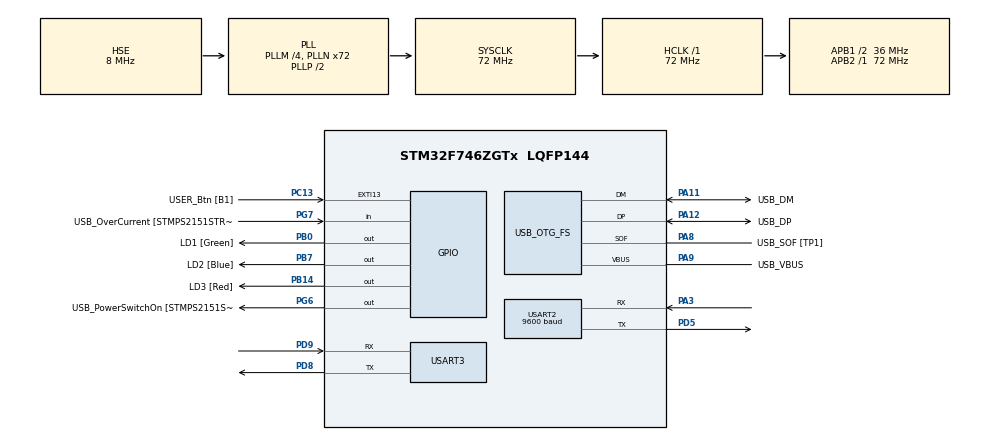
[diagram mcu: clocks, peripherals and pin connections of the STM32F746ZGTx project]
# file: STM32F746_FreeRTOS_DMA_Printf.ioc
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Dma.Request0=USART2_RX
Dma.Request1=USART2_TX
Dma.USART2_RX.0.Direction=DMA_PERIPH_TO_MEMORY
Dma.USART2_RX.0.FIFOMode=DMA_FIFOMODE_DISABLE
Dma.USART2_RX.0.Instance=DMA1_Stream5
Dma.USART2_RX.0.MemDataAlignment=DMA_MDATAALIGN_BYTE
Dma.USART2_RX.0.MemInc=DMA_MINC_ENABLE
Dma.USART2_RX.0.Mode=DMA_NORMAL
Dma.USART2_RX.0.PeriphDataAlignment=DMA_PDATAALIGN_BYTE
Dma.USART2_RX.0.PeriphInc=DMA_PINC_DISABLE
Dma.USART2_RX.0.Priority=DMA_PRIORITY_HIGH
Dma.USART2_TX.1.Direction=DMA_MEMORY_TO_PERIPH
Dma.USART2_TX.1.FIFOMode=DMA_FIFOMODE_DISABLE
Dma.USART2_TX.1.Instance=DMA1_Stream6
Dma.USART2_TX.1.MemDataAlignment=DMA_MDATAALIGN_BYTE
Dma.USART2_TX.1.MemInc=DMA_MINC_ENABLE
Dma.USART2_TX.1.Mode=DMA_NORMAL
Dma.USART2_TX.1.PeriphDataAlignment=DMA_PDATAALIGN_BYTE
Dma.USART2_TX.1.PeriphInc=DMA_PINC_DISABLE
Dma.USART2_TX.1.Priority=DMA_PRIORITY_LOW
FREERTOS.BinarySemaphores01=consoleSema,Dynamic,NULL
FREERTOS.Queues01=smsRxQueue,16,uint8_t,0,Dynamic,NULL,NULL;ConsoleTxQueue,16,uint8_t,0,Dynamic,NULL,NULL
FREERTOS.Tasks01=defaultTask,24,128,StartDefaultTask,Default,NULL,Dynamic,NULL,NULL;ProcessSmsTask,32,256,StartProcessSmsTask,Default,NULL,Dynamic,NULL,NULL;ConsoleTxTask,33,256,StartConsoleTxTask,Default,NULL,Dynamic,NULL,NULL;DebugTask,24,128,StartDebugTask,Default,NULL,Dynamic,NULL,NULL;GsmTxTask,24,128,StartGsmTxTask,Default,NULL,Dynamic,NULL,NULL;GsmRxTask,32,128,StartGsmRxTask,Default,NULL,Dynamic,NULL,NULL
FREERTOS.Timers01=SmsRxTimeout,SmsRxTimeout_Callback,osTimerOnce,Default,NULL,Dynamic,NULL
FREERTOS.configCHECK_FOR_STACK_OVERFLOW=2
FREERTOS.configGENERATE_RUN_TIME_STATS=1
FREERTOS.configRECORD_STACK_HIGH_ADDRESS=1
FREERTOS.configUSE_IDLE_HOOK=1
FREERTOS.configUSE_PREEMPTION=0
FREERTOS.configUSE_STATS_FORMATTING_FUNCTIONS=1
Mcu.Family=STM32F7
Mcu.Name=STM32F746ZGTx
Mcu.Package=LQFP144
NVIC.DMA1_Stream5_IRQn=true\:5\:0\:false\:false\:true\:true\:false\:true
NVIC.DMA1_Stream6_IRQn=true\:5\:0\:false\:false\:true\:true\:false\:true
NVIC.PriorityGroup=NVIC_PRIORITYGROUP_4
NVIC.TIM7_IRQn=true\:0\:0\:false\:false\:true\:false\:false\:true
NVIC.TimeBase=TIM7_IRQn
NVIC.TimeBaseIP=TIM7
NVIC.USART2_IRQn=true\:5\:0\:false\:false\:true\:true\:true\:true
NVIC.USART3_IRQn=true\:5\:0\:false\:false\:true\:true\:true\:true
PA1.GPIO_Label=RMII_REF_CLK [LAN8742A-CZ-TR_REFCLK0]
PA1.Signal=ETH_REF_CLK
PA10.GPIO_Label=USB_ID
PA10.Signal=USB_OTG_FS_ID
PA11.GPIO_Label=USB_DM
PA11.Mode=Device_Only
PA11.Signal=USB_OTG_FS_DM
PA12.GPIO_Label=USB_DP
PA12.Mode=Device_Only
PA12.Signal=USB_OTG_FS_DP
PA13.GPIO_Label=TMS
PA13.Mode=Serial_Wire
PA13.Signal=SYS_JTMS-SWDIO
PA14.GPIO_Label=TCK
PA14.Mode=Serial_Wire
PA14.Signal=SYS_JTCK-SWCLK
PA2.GPIO_Label=RMII_MDIO [LAN8742A-CZ-TR_MDIO]
PA2.Signal=ETH_MDIO
PA3.Mode=Asynchronous
PA3.Signal=USART2_RX
PA7.GPIO_Label=RMII_CRS_DV [LAN8742A-CZ-TR_CRS_DV]
PA7.Signal=ETH_CRS_DV
PA8.GPIO_Label=USB_SOF [TP1]
PA8.Mode=Activate_SOF_FS
PA8.Signal=USB_OTG_FS_SOF
PA9.GPIO_Label=USB_VBUS
PA9.Mode=Activate_VBUS
PA9.Signal=USB_OTG_FS_VBUS
PB0.GPIO_Label=LD1 [Green]
PB0.Signal=GPIO_Output
PB13.GPIO_Label=RMII_TXD1 [LAN8742A-CZ-TR_TXD1]
PB13.Signal=ETH_TXD1
PB14.GPIO_Label=LD3 [Red]
PB14.Signal=GPIO_Output
PB3.GPIO_Label=SW0
PB3.Signal=SYS_JTDO-SWO
PB7.GPIO_Label=LD2 [Blue]
PB7.Signal=GPIO_Output
PC1.GPIO_Label=RMII_MDC [LAN8742A-CZ-TR_MDC]
PC1.Signal=ETH_MDC
PC13.GPIO_Label=USER_Btn [B1]
PC13.Signal=GPXTI13
PC14/OSC32_IN.Mode=LSE-External-Oscillator
PC14/OSC32_IN.Signal=RCC_OSC32_IN
PC15/OSC32_OUT.Mode=LSE-External-Oscillator
PC15/OSC32_OUT.Signal=RCC_OSC32_OUT
PC4.GPIO_Label=RMII_RXD0 [LAN8742A-CZ-TR_RXD0]
PC4.Signal=ETH_RXD0
PC5.GPIO_Label=RMII_RXD1 [LAN8742A-CZ-TR_RXD1]
PC5.Signal=ETH_RXD1
PD5.Mode=Asynchronous
PD5.Signal=USART2_TX
PD8.GPIO_ModeDefaultPP=GPIO_MODE_AF_PP
PD8.GPIO_PuPd=GPIO_NOPULL
PD8.GPIO_Speed=GPIO_SPEED_FREQ_VERY_HIGH
PD8.Mode=Asynchronous
PD8.Signal=USART3_TX
PD9.GPIO_ModeDefaultPP=GPIO_MODE_AF_PP
PD9.GPIO_PuPd=GPIO_NOPULL
PD9.GPIO_Speed=GPIO_SPEED_FREQ_VERY_HIGH
PD9.Mode=Asynchronous
PD9.Signal=USART3_RX
PG11.GPIO_Label=RMII_TX_EN [LAN8742A-CZ-TR_TXEN]
PG11.Signal=ETH_TX_EN
PG13.GPIO_Label=RMII_TXD0 [LAN8742A-CZ-TR_TXD0]
PG13.Signal=ETH_TXD0
PG6.GPIO_Label=USB_PowerSwitchOn [STMPS2151STR_EN]
PG6.Signal=GPIO_Output
PG7.GPIO_Label=USB_OverCurrent [STMPS2151STR_FAULT]
PG7.Signal=GPIO_Input
PH0/OSC_IN.GPIO_Label=MCO [STM32F103CBT6_PA8]
PH0/OSC_IN.Mode=HSE-External-Clock-Source
PH0/OSC_IN.Signal=RCC_OSC_IN
PH1/OSC_OUT.Mode=HSE-External-Clock-Source
PH1/OSC_OUT.Signal=RCC_OSC_OUT
ProjectManager.HeapSize=0x200
ProjectManager.StackSize=0x400
ProjectManager.TargetToolchain=STM32CubeIDE
RCC.48MHZClocksFreq_Value=24000000
RCC.AHBFreq_Value=72000000
RCC.APB1CLKDivider=RCC_HCLK_DIV2
RCC.APB1Freq_Value=36000000
RCC.APB1TimFreq_Value=72000000
RCC.APB2Freq_Value=72000000
RCC.APB2TimFreq_Value=72000000
RCC.CortexFreq_Value=72000000
RCC.HCLKFreq_Value=72000000
RCC.HSE_VALUE=8000000
RCC.HSI_VALUE=16000000
RCC.PLLM=4
RCC.PLLMUL=RCC_PLL_MUL9
RCC.PLLN=72
RCC.PLLQ=3
RCC.PRESCALERUSB=RCC_USBCLKSOURCE_PLL_DIV1_5
RCC.SYSCLKFreq_VALUE=72000000
RCC.SYSCLKSource=RCC_SYSCLKSOURCE_PLLCLK
RCC.SYSCLKSourceVirtual=RCC_SYSCLKSOURCE_PLLCLK
RCC.USBFreq_Value=48000000
RCC.VCOOutputFreq_Value=144000000
USART2.BaudRate=9600
USART2.VirtualMode-Asynchronous=VM_ASYNC
USART3.VirtualMode-Asynchronous=VM_ASYNC
USB_OTG_FS.VirtualMode=Device_Only
VP_FREERTOS_VS_CMSIS_V2.Mode=CMSIS_V2
VP_SYS_VS_tim7.Mode=TIM7
board=NUCLEO-F746ZG

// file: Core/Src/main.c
/* USER CODE BEGIN Header */
/**
  ******************************************************************************
  * @file           : main.c
  * @brief          : Main program body
  ******************************************************************************
  * @attention
  *
  * <h2><center>&copy; Copyright (c) 2021 STMicroelectronics.
  * All rights reserved.</center></h2>
  *
  * This software component is licensed by ST under BSD 3-Clause license,
  * the "License"; You may not use this file except in compliance with the
  * License. You may obtain a copy of the License at:
  *                        opensource.org/licenses/BSD-3-Clause
  *
  ******************************************************************************
  */
/* USER CODE END Header */
#include "main.h"
#include "cmsis_os.h"

/* USER CODE BEGIN Includes */
#include "task.h"
#include "sms.h"
#include "msg.h"
#include "retarget.h"
#include "stdio.h"
#include "string.h"
#include "globals.h"

/* USER CODE END Includes */

/* USER CODE BEGIN PM */

#define CONSOLE_UART huart3
#define SMS_UART     huart2

#define WAIT_UART_READY(__UART__) while(HAL_UART_GetState(&__UART__) != HAL_UART_STATE_READY) osThreadYield();

#define UART_DMA_TRANSMIT(__UART__, __BPTR__)  	if(HAL_UART_Transmit_DMA(&(__UART__), (uint8_t*)(__BPTR__), strlen((char *)(__BPTR__))) != HAL_OK) \
		{\
		}

#define SMS_DMA_TRANSMIT(__BPTR__)  \
		WAIT_UART_READY(SMS_UART); \
		if(HAL_UART_Transmit_DMA(&(SMS_UART), (uint8_t*)(__BPTR__), strlen((char *)(__BPTR__))) != HAL_OK) \
		{\
		}\
		WAIT_UART_READY(SMS_UART);

#define SET_TICK_LIMIT(__CNTR__, __TICKS__) (__CNTR__) = HAL_GetTick() + (__TICKS__)

/* USER CODE END PM */

UART_HandleTypeDef huart2;
UART_HandleTypeDef huart3;
DMA_HandleTypeDef hdma_usart2_rx;
DMA_HandleTypeDef hdma_usart2_tx;

PCD_HandleTypeDef hpcd_USB_OTG_FS;

/* Definitions for defaultTask */
osThreadId_t defaultTaskHandle;
const osThreadAttr_t defaultTask_attributes = {
  .name = "defaultTask",
  .priority = (osPriority_t) osPriorityNormal,
  .stack_size = 128 * 4
};
/* Definitions for ProcessSmsTask */
osThreadId_t ProcessSmsTaskHandle;
const osThreadAttr_t ProcessSmsTask_attributes = {
  .name = "ProcessSmsTask",
  .priority = (osPriority_t) osPriorityAboveNormal,
  .stack_size = 256 * 4
};
/* Definitions for ConsoleTxTask */
osThreadId_t ConsoleTxTaskHandle;
const osThreadAttr_t ConsoleTxTask_attributes = {
  .name = "ConsoleTxTask",
  .priority = (osPriority_t) osPriorityAboveNormal1,
  .stack_size = 256 * 4
};
/* Definitions for DebugTask */
osThreadId_t DebugTaskHandle;
const osThreadAttr_t DebugTask_attributes = {
  .name = "DebugTask",
  .priority = (osPriority_t) osPriorityNormal,
  .stack_size = 128 * 4
};
/* Definitions for GsmTxTask */
osThreadId_t GsmTxTaskHandle;
const osThreadAttr_t GsmTxTask_attributes = {
  .name = "GsmTxTask",
  .priority = (osPriority_t) osPriorityNormal,
  .stack_size = 128 * 4
};
/* Definitions for GsmRxTask */
osThreadId_t GsmRxTaskHandle;
const osThreadAttr_t GsmRxTask_attributes = {
  .name = "GsmRxTask",
  .priority = (osPriority_t) osPriorityAboveNormal,
  .stack_size = 128 * 4
};
/* Definitions for smsRxQueue */
osMessageQueueId_t smsRxQueueHandle;
const osMessageQueueAttr_t smsRxQueue_attributes = {
  .name = "smsRxQueue"
};
/* Definitions for ConsoleTxQueue */
osMessageQueueId_t ConsoleTxQueueHandle;
const osMessageQueueAttr_t ConsoleTxQueue_attributes = {
  .name = "ConsoleTxQueue"
};
/* Definitions for SmsRxTimeout */
osTimerId_t SmsRxTimeoutHandle;
const osTimerAttr_t SmsRxTimeout_attributes = {
  .name = "SmsRxTimeout"
};
/* Definitions for consoleSema */
osSemaphoreId_t consoleSemaHandle;
const osSemaphoreAttr_t consoleSema_attributes = {
  .name = "consoleSema"
};
/* USER CODE BEGIN PV */

/* Buffer used for reception */
uint8_t aRxBuffer[RXBUFFERSIZE];
struct msg_handle_struct *msg_handle_ptr;
char debug_str[1000];

/* USER CODE END PV */

void SystemClock_Config(void);
static void MX_GPIO_Init(void);
static void MX_DMA_Init(void);
static void MX_USART3_UART_Init(void);
static void MX_USB_OTG_FS_PCD_Init(void);
static void MX_USART2_UART_Init(void);
void StartDefaultTask(void *argument);
void StartProcessSmsTask(void *argument);
void StartConsoleTxTask(void *argument);
void StartDebugTask(void *argument);
void StartGsmTxTask(void *argument);
void StartGsmRxTask(void *argument);
void SmsRxTimeout_Callback(void *argument);

int main(void)
{

  /* MCU Configuration--------------------------------------------------------*/

  /* Reset of all peripherals, Initializes the Flash interface and the Systick. */
  HAL_Init();

  /* Configure the system clock */
  SystemClock_Config();

  /* Initialize all configured peripherals */
  MX_GPIO_Init();
  MX_DMA_Init();
  MX_USART3_UART_Init();
  MX_USB_OTG_FS_PCD_Init();
  MX_USART2_UART_Init();
  /* USER CODE BEGIN 2 */

    // Initilaize message repository
    msg_initialize();
    RetargetInit(&huart3);
    //------------------------------------------------------------------------------------------------
    HAL_Delay(2000);
    printf("%s %s","STM32F746_FreeRTOS_DMA_Printf", &newline_str);

    HAL_Delay(100);
    //------------------------------------------------------------------------------------------------

  /* USER CODE END 2 */

  /* Init scheduler */
  osKernelInitialize();

  /* Create the semaphores(s) */
  /* creation of consoleSema */
  consoleSemaHandle = osSemaphoreNew(1, 1, &consoleSema_attributes);

  /* Create the timer(s) */
  /* creation of SmsRxTimeout */
  SmsRxTimeoutHandle = osTimerNew(SmsRxTimeout_Callback, osTimerOnce, NULL, &SmsRxTimeout_attributes);

  /* Create the queue(s) */
  /* creation of smsRxQueue */
  smsRxQueueHandle = osMessageQueueNew (16, sizeof(uint8_t), &smsRxQueue_attributes);

  /* creation of ConsoleTxQueue */
  ConsoleTxQueueHandle = osMessageQueueNew (16, sizeof(uint8_t), &ConsoleTxQueue_attributes);

  /* Create the thread(s) */
  /* creation of defaultTask */
  defaultTaskHandle = osThreadNew(StartDefaultTask, NULL, &defaultTask_attributes);

  /* creation of ProcessSmsTask */
  ProcessSmsTaskHandle = osThreadNew(StartProcessSmsTask, NULL, &ProcessSmsTask_attributes);

  /* creation of ConsoleTxTask */
  ConsoleTxTaskHandle = osThreadNew(StartConsoleTxTask, NULL, &ConsoleTxTask_attributes);

  /* creation of DebugTask */
  DebugTaskHandle = osThreadNew(StartDebugTask, NULL, &DebugTask_attributes);

  /* creation of GsmTxTask */
  GsmTxTaskHandle = osThreadNew(StartGsmTxTask, NULL, &GsmTxTask_attributes);

  /* creation of GsmRxTask */
  GsmRxTaskHandle = osThreadNew(StartGsmRxTask, NULL, &GsmRxTask_attributes);

  /* Start scheduler */
  osKernelStart();

  /* We should never get here as control is now taken by the scheduler */
  /* Infinite loop */
  while (1)
  {

  }
}

void SystemClock_Config(void)
{
  RCC_OscInitTypeDef RCC_OscInitStruct = {0};
  RCC_ClkInitTypeDef RCC_ClkInitStruct = {0};
  RCC_PeriphCLKInitTypeDef PeriphClkInitStruct = {0};

  /** Configure LSE Drive Capability
  */
  HAL_PWR_EnableBkUpAccess();
  /** Configure the main internal regulator output voltage
  */
  __HAL_RCC_PWR_CLK_ENABLE();
  __HAL_PWR_VOLTAGESCALING_CONFIG(PWR_REGULATOR_VOLTAGE_SCALE3);
  /** Initializes the RCC Oscillators according to the specified parameters
  * in the RCC_OscInitTypeDef structure.
  */
  RCC_OscInitStruct.OscillatorType = RCC_OSCILLATORTYPE_HSE;
  RCC_OscInitStruct.HSEState = RCC_HSE_BYPASS;
  RCC_OscInitStruct.PLL.PLLState = RCC_PLL_ON;
  RCC_OscInitStruct.PLL.PLLSource = RCC_PLLSOURCE_HSE;
  RCC_OscInitStruct.PLL.PLLM = 4;
  RCC_OscInitStruct.PLL.PLLN = 72;
  RCC_OscInitStruct.PLL.PLLP = RCC_PLLP_DIV2;
  RCC_OscInitStruct.PLL.PLLQ = 3;
  if (HAL_RCC_OscConfig(&RCC_OscInitStruct) != HAL_OK)
  {
    Error_Handler();
  }
  /** Initializes the CPU, AHB and APB buses clocks
  */
  RCC_ClkInitStruct.ClockType = RCC_CLOCKTYPE_HCLK|RCC_CLOCKTYPE_SYSCLK
                              |RCC_CLOCKTYPE_PCLK1|RCC_CLOCKTYPE_PCLK2;
  RCC_ClkInitStruct.SYSCLKSource = RCC_SYSCLKSOURCE_PLLCLK;
  RCC_ClkInitStruct.AHBCLKDivider = RCC_SYSCLK_DIV1;
  RCC_ClkInitStruct.APB1CLKDivider = RCC_HCLK_DIV2;
  RCC_ClkInitStruct.APB2CLKDivider = RCC_HCLK_DIV1;

  if (HAL_RCC_ClockConfig(&RCC_ClkInitStruct, FLASH_LATENCY_2) != HAL_OK)
  {
    Error_Handler();
  }
  PeriphClkInitStruct.PeriphClockSelection = RCC_PERIPHCLK_USART2|RCC_PERIPHCLK_USART3
                              |RCC_PERIPHCLK_CLK48;
  PeriphClkInitStruct.Usart2ClockSelection = RCC_USART2CLKSOURCE_PCLK1;
  PeriphClkInitStruct.Usart3ClockSelection = RCC_USART3CLKSOURCE_PCLK1;
  PeriphClkInitStruct.Clk48ClockSelection = RCC_CLK48SOURCE_PLL;
  if (HAL_RCCEx_PeriphCLKConfig(&PeriphClkInitStruct) != HAL_OK)
  {
    Error_Handler();
  }
}

static void MX_USART2_UART_Init(void)
{

  huart2.Instance = USART2;
  huart2.Init.BaudRate = 9600;
  huart2.Init.WordLength = UART_WORDLENGTH_8B;
  huart2.Init.StopBits = UART_STOPBITS_1;
  huart2.Init.Parity = UART_PARITY_NONE;
  huart2.Init.Mode = UART_MODE_TX_RX;
  huart2.Init.HwFlowCtl = UART_HWCONTROL_NONE;
  huart2.Init.OverSampling = UART_OVERSAMPLING_16;
  huart2.Init.OneBitSampling = UART_ONE_BIT_SAMPLE_DISABLE;
  huart2.AdvancedInit.AdvFeatureInit = UART_ADVFEATURE_NO_INIT;
  if (HAL_UART_Init(&huart2) != HAL_OK)
  {
    Error_Handler();
  }

}

static void MX_USART3_UART_Init(void)
{

  huart3.Instance = USART3;
  huart3.Init.BaudRate = 115200;
  huart3.Init.WordLength = UART_WORDLENGTH_8B;
  huart3.Init.StopBits = UART_STOPBITS_1;
  huart3.Init.Parity = UART_PARITY_NONE;
  huart3.Init.Mode = UART_MODE_TX_RX;
  huart3.Init.HwFlowCtl = UART_HWCONTROL_NONE;
  huart3.Init.OverSampling = UART_OVERSAMPLING_16;
  huart3.Init.OneBitSampling = UART_ONE_BIT_SAMPLE_DISABLE;
  huart3.AdvancedInit.AdvFeatureInit = UART_ADVFEATURE_NO_INIT;
  if (HAL_UART_Init(&huart3) != HAL_OK)
  {
    Error_Handler();
  }

}

static void MX_USB_OTG_FS_PCD_Init(void)
{

  hpcd_USB_OTG_FS.Instance = USB_OTG_FS;
  hpcd_USB_OTG_FS.Init.dev_endpoints = 6;
  hpcd_USB_OTG_FS.Init.speed = PCD_SPEED_FULL;
  hpcd_USB_OTG_FS.Init.dma_enable = DISABLE;
  hpcd_USB_OTG_FS.Init.phy_itface = PCD_PHY_EMBEDDED;
  hpcd_USB_OTG_FS.Init.Sof_enable = ENABLE;
  hpcd_USB_OTG_FS.Init.low_power_enable = DISABLE;
  hpcd_USB_OTG_FS.Init.lpm_enable = DISABLE;
  hpcd_USB_OTG_FS.Init.vbus_sensing_enable = ENABLE;
  hpcd_USB_OTG_FS.Init.use_dedicated_ep1 = DISABLE;
  if (HAL_PCD_Init(&hpcd_USB_OTG_FS) != HAL_OK)
  {
    Error_Handler();
  }

}

static void MX_DMA_Init(void)
{

  /* DMA controller clock enable */
  __HAL_RCC_DMA1_CLK_ENABLE();

  /* DMA interrupt init */
  /* DMA1_Stream5_IRQn interrupt configuration */
  HAL_NVIC_SetPriority(DMA1_Stream5_IRQn, 5, 0);
  HAL_NVIC_EnableIRQ(DMA1_Stream5_IRQn);
  /* DMA1_Stream6_IRQn interrupt configuration */
  HAL_NVIC_SetPriority(DMA1_Stream6_IRQn, 5, 0);
  HAL_NVIC_EnableIRQ(DMA1_Stream6_IRQn);

}

static void MX_GPIO_Init(void)
{
  GPIO_InitTypeDef GPIO_InitStruct = {0};

  /* GPIO Ports Clock Enable */
  __HAL_RCC_GPIOC_CLK_ENABLE();
  __HAL_RCC_GPIOH_CLK_ENABLE();
  __HAL_RCC_GPIOA_CLK_ENABLE();
  __HAL_RCC_GPIOB_CLK_ENABLE();
  __HAL_RCC_GPIOD_CLK_ENABLE();
  __HAL_RCC_GPIOG_CLK_ENABLE();

  /*Configure GPIO pin Output Level */
  HAL_GPIO_WritePin(GPIOB, LD1_Pin|LD3_Pin|LD2_Pin, GPIO_PIN_RESET);

  /*Configure GPIO pin Output Level */
  HAL_GPIO_WritePin(USB_PowerSwitchOn_GPIO_Port, USB_PowerSwitchOn_Pin, GPIO_PIN_RESET);

  /*Configure GPIO pin : USER_Btn_Pin */
  GPIO_InitStruct.Pin = USER_Btn_Pin;
  GPIO_InitStruct.Mode = GPIO_MODE_IT_RISING;
  GPIO_InitStruct.Pull = GPIO_NOPULL;
  HAL_GPIO_Init(USER_Btn_GPIO_Port, &GPIO_InitStruct);

  /*Configure GPIO pins : RMII_MDC_Pin RMII_RXD0_Pin RMII_RXD1_Pin */
  GPIO_InitStruct.Pin = RMII_MDC_Pin|RMII_RXD0_Pin|RMII_RXD1_Pin;
  GPIO_InitStruct.Mode = GPIO_MODE_AF_PP;
  GPIO_InitStruct.Pull = GPIO_NOPULL;
  GPIO_InitStruct.Speed = GPIO_SPEED_FREQ_VERY_HIGH;
  GPIO_InitStruct.Alternate = GPIO_AF11_ETH;
  HAL_GPIO_Init(GPIOC, &GPIO_InitStruct);

  /*Configure GPIO pins : RMII_REF_CLK_Pin RMII_MDIO_Pin RMII_CRS_DV_Pin */
  GPIO_InitStruct.Pin = RMII_REF_CLK_Pin|RMII_MDIO_Pin|RMII_CRS_DV_Pin;
  GPIO_InitStruct.Mode = GPIO_MODE_AF_PP;
  GPIO_InitStruct.Pull = GPIO_NOPULL;
  GPIO_InitStruct.Speed = GPIO_SPEED_FREQ_VERY_HIGH;
  GPIO_InitStruct.Alternate = GPIO_AF11_ETH;
  HAL_GPIO_Init(GPIOA, &GPIO_InitStruct);

  /*Configure GPIO pins : LD1_Pin LD3_Pin LD2_Pin */
  GPIO_InitStruct.Pin = LD1_Pin|LD3_Pin|LD2_Pin;
  GPIO_InitStruct.Mode = GPIO_MODE_OUTPUT_PP;
  GPIO_InitStruct.Pull = GPIO_NOPULL;
  GPIO_InitStruct.Speed = GPIO_SPEED_FREQ_LOW;
  HAL_GPIO_Init(GPIOB, &GPIO_InitStruct);

  /*Configure GPIO pin : RMII_TXD1_Pin */
  GPIO_InitStruct.Pin = RMII_TXD1_Pin;
  GPIO_InitStruct.Mode = GPIO_MODE_AF_PP;
  GPIO_InitStruct.Pull = GPIO_NOPULL;
  GPIO_InitStruct.Speed = GPIO_SPEED_FREQ_VERY_HIGH;
  GPIO_InitStruct.Alternate = GPIO_AF11_ETH;
  HAL_GPIO_Init(RMII_TXD1_GPIO_Port, &GPIO_InitStruct);

  /*Configure GPIO pin : USB_PowerSwitchOn_Pin */
  GPIO_InitStruct.Pin = USB_PowerSwitchOn_Pin;
  GPIO_InitStruct.Mode = GPIO_MODE_OUTPUT_PP;
  GPIO_InitStruct.Pull = GPIO_NOPULL;
  GPIO_InitStruct.Speed = GPIO_SPEED_FREQ_LOW;
  HAL_GPIO_Init(USB_PowerSwitchOn_GPIO_Port, &GPIO_InitStruct);

  /*Configure GPIO pin : USB_OverCurrent_Pin */
  GPIO_InitStruct.Pin = USB_OverCurrent_Pin;
  GPIO_InitStruct.Mode = GPIO_MODE_INPUT;
  GPIO_InitStruct.Pull = GPIO_NOPULL;
  HAL_GPIO_Init(USB_OverCurrent_GPIO_Port, &GPIO_InitStruct);

  /*Configure GPIO pins : RMII_TX_EN_Pin RMII_TXD0_Pin */
  GPIO_InitStruct.Pin = RMII_TX_EN_Pin|RMII_TXD0_Pin;
  GPIO_InitStruct.Mode = GPIO_MODE_AF_PP;
  GPIO_InitStruct.Pull = GPIO_NOPULL;
  GPIO_InitStruct.Speed = GPIO_SPEED_FREQ_VERY_HIGH;
  GPIO_InitStruct.Alternate = GPIO_AF11_ETH;
  HAL_GPIO_Init(GPIOG, &GPIO_InitStruct);

}

/* USER CODE BEGIN 4 */

/**
  * @brief  Tx Transfer completed callback
  * @param  huart: UART handle.
  * @note   This example shows a simple way to report end of DMA Tx transfer, and
  *         you can add your own implementation.
  * @retval None
  */
void HAL_UART_TxCpltCallback(UART_HandleTypeDef *huart)
{
    /* Turn LED2 on: transmission DMA transfer completed */
    HAL_GPIO_WritePin(LD1_GPIO_Port, LD1_Pin, GPIO_PIN_SET);
    //BSP_LED_On(LD2);
}

/**
  * @brief  Rx Transfer completed callback
  * @param  huart: UART handle
  * @note   This example shows a simple way to report end of DMA Rx transfer, and
  *         you can add your own implementation.
  * @retval None
  */
void HAL_UART_RxCpltCallback(UART_HandleTypeDef *huart)
{
    /* Turn LED4 on: reception DMA transfer completed */
	HAL_GPIO_WritePin(LD2_GPIO_Port, LD2_Pin, GPIO_PIN_SET);
	//BSP_LED_On(LED4);
}

/**
  * @brief  UART error callbacks
  * @param  huart: UART handle
  * @note   This example shows a simple way to report transfer error, and you can
  *         add your own implementation.
  * @retval None
  */
void HAL_UART_ErrorCallback(UART_HandleTypeDef *huart)
{
    /* Turn LED3 on: Transfer error in reception/transmission process */
	HAL_GPIO_WritePin(LD3_GPIO_Port, LD3_Pin, GPIO_PIN_SET);
    //BSP_LED_On(LED3);
}

/* USER CODE END 4 */

void StartDefaultTask(void *argument)
{
  /* USER CODE BEGIN 5 */
  /* Infinite loop */
  for(;;)
  {
    osDelay(1000);
  }
  /* USER CODE END 5 */
}

#define SEND_AT_COMMAND(__AT_CMND_IDX__, __AT_STR__) \
		memset((__AT_STR__), 0x00,sizeof((__AT_STR__))); \
		sms_get_at_cmnd((__AT_CMND_IDX__), (__AT_STR__)); \
		SMS_DMA_TRANSMIT(__AT_STR__)

void StartProcessSmsTask(void *argument)
{
  /* USER CODE BEGIN StartProcessSmsTask */
    osStatus_t retvalue;
    uint16_t task_state;
    // Msg_StatusTypeDef msg_ret_val;
    static struct msg_handle_struct *sms_rx_msg_handle;
    uint8_t       msg_indx;
    uint16_t      nbr_sub_rows;
    at_cmnd_type  at_cmnd;
    char          at_cmnd_str[20];

	printf("%s %s",osThreadGetName(ProcessSmsTaskHandle), &newline_str);
    task_state = 0;
    at_cmnd = AT_AT;
    /* Infinite loop */
    for(;;)
    {
		HAL_GPIO_TogglePin(LD2_GPIO_Port, LD2_Pin);
    	switch(task_state)
    	{

    	case 0:    // HW reset
    		task_state = 100;
    		osDelay(200);
    		break;

    	case 100:
    		at_cmnd = AT_CHIP_INFO;
    		SEND_AT_COMMAND(at_cmnd, at_cmnd_str);
    		task_state++;
    		break;
    	case 101:
    		retvalue = osMessageQueueGet(smsRxQueueHandle,(uint8_t*)&msg_indx, (uint8_t *)osPriorityNormal, 4000);
     		if (retvalue == osOK)
     		{
    	        if (msg_get_handle( (struct msg_handle_struct **) &sms_rx_msg_handle, msg_indx) == MSG_OK)
    		    {
					printf("%s %s",sms_rx_msg_handle->buf, &newline_str);
					nbr_sub_rows =  msg_row_split(sms_rx_msg_handle);
					sms_debug(at_cmnd, sms_rx_msg_handle);
					printf("SMS check = %u%s",(uint8_t) sms_check(at_cmnd, sms_rx_msg_handle), &newline_str);
					msg_release(sms_rx_msg_handle);
					//printf("%s %s","SMS raw message received", &newline_str);
					//printf("%s %s","...end\r\n", &newline_str);
  			    }
   			}
    		else
    		{
    		   osThreadYield();
    		}
     		osDelay(2000);
     		task_state = 100;
    		break;
    	case 200:
    		break;
    	}

  }

  /* USER CODE END StartProcessSmsTask */
}

void StartConsoleTxTask(void *argument)
{
  /* USER CODE BEGIN StartConsoleTxTask */
	 osStatus_t retvalue;
	 uint8_t    msg_indx;
	 struct msg_handle_struct *console_tx_msg_handle;
    /* Infinite loop */
    for(;;)
    {
    	HAL_GPIO_TogglePin(LD3_GPIO_Port, LD3_Pin);
	    retvalue = osMessageQueueGet(ConsoleTxQueueHandle,(uint8_t*)&msg_indx, (uint8_t*)osPriorityNormal, 1000);
	    if (retvalue == osOK){
	    	if (msg_get_handle( (struct msg_handle_struct **) &console_tx_msg_handle, msg_indx) == MSG_OK){
	    		//osSemaphoreAcquire(consoleSemaHandle,osWaitForever);
	    		printf("%s %s",console_tx_msg_handle->buf, &newline_str);
	    	   	msg_release(console_tx_msg_handle);
	    		//osSemaphoreRelease(consoleSemaHandle);
	    	}
	    }
	    else
	    {
	    	osThreadYield();
	    }

        osDelay(100);
    }
  /* USER CODE END StartConsoleTxTask */
}

void StartDebugTask(void *argument)
{
  /* USER CODE BEGIN StartDebugTask */
  /* Infinite loop */
  for(;;)
  {

	if( HAL_GPIO_ReadPin(USER_Btn_GPIO_Port, USER_Btn_Pin)  == GPIO_PIN_SET){
		printf("---debug--\r\n");
		printf("Task name       state          stack \r\n");
		vTaskList( debug_str );
		printf(debug_str);
		printf("X=running, B=Blocked, R=Ready, D=Deleted, S=Suspended \r\n");
		//osDelay(1000);
		//vTaskGetRunTimeStats(debug_str);
		//printf(debug_str);
		osDelay(1000);
	}
    osDelay(100);
  }
  /* USER CODE END StartDebugTask */
}

void StartGsmTxTask(void *argument)
{
  /* USER CODE BEGIN StartGsmTxTask */
	printf("%s %s",osThreadGetName(GsmTxTaskHandle), &newline_str);

    /* Infinite loop */
    for(;;)
    {
		HAL_GPIO_WritePin(LD1_GPIO_Port, LD1_Pin, GPIO_PIN_SET);
		//SMS_DMA_TRANSMIT("ATI\r\n");

        osDelay(2000);
    }
  /* USER CODE END StartGsmTxTask */
}

void StartGsmRxTask(void *argument)
{
  /* USER CODE BEGIN StartGsmRxTask */
	static uint16_t  nbr_rx_chr = 0;
	static struct msg_handle_struct *rx_msg_handle;
	static uint8_t   indx_buf[2];
	static uint32_t  tick_limit;
	static uint8_t   free_buffer;

	//uint8_t  *end_ptr;
	printf("%s %s",osThreadGetName(GsmRxTaskHandle), &newline_str);

  /* Infinite loop */
  for(;;)
  {
		HAL_GPIO_WritePin(LD1_GPIO_Port, LD1_Pin, GPIO_PIN_RESET);
		free_buffer = 0;
		nbr_rx_chr = 0;
        SET_TICK_LIMIT(tick_limit,100);
		if (msg_reserve( (struct msg_handle_struct **) &rx_msg_handle, msg_type_gsm_rx) == MSG_OK  )
		{

			if (HAL_UART_Receive_DMA(&SMS_UART, (uint8_t *)rx_msg_handle->buf, 80) != HAL_OK)
			{
				printf("%s %s","SMS UART DMA Receive error", &newline_str);
			    //Error_Handler();  /* Transfer error in reception process */
			}
			while ((HAL_UART_GetState(&SMS_UART) != HAL_UART_STATE_READY) &&  (HAL_GetTick() < tick_limit) )
			{
				if (strlen((char *) rx_msg_handle->buf) > (size_t) nbr_rx_chr )
				{
			        SET_TICK_LIMIT(tick_limit,100);
			        nbr_rx_chr = strlen((char *)rx_msg_handle->buf);
				}

			}
			if (nbr_rx_chr > 0)
			{
				printf("<%u>%s %s",nbr_rx_chr, rx_msg_handle->buf, &newline_str);
					indx_buf[0] = rx_msg_handle->index;
					osMessageQueuePut(smsRxQueueHandle, (uint8_t *) indx_buf, (uint8_t)osPriorityNormal,200 );
			}
			else
			{
					 free_buffer = 1;
					 //printf("%s %s","SMS Rx timeout", &newline_str);
			}

			if (HAL_UART_DMAStop(&SMS_UART) != HAL_OK )
			{
				printf("%s %s","HAL_UART_DMAStop != HAL_OK", &newline_str);

			}
		}
		else
		{
  		    printf("%s %s","Message repository is full", &newline_str);
		}

		if (free_buffer )
		{
     	     msg_release(rx_msg_handle);
		}
        osDelay(5);

    }
  /* USER CODE END StartGsmRxTask */
}

/* SmsRxTimeout_Callback function */
void SmsRxTimeout_Callback(void *argument)
{
}

 /**
  * @brief  Period elapsed callback in non blocking mode
  * @note   This function is called  when TIM7 interrupt took place, inside
  * HAL_TIM_IRQHandler(). It makes a direct call to HAL_IncTick() to increment
  * a global variable "uwTick" used as application time base.
  * @param  htim : TIM handle
  * @retval None
  */
void HAL_TIM_PeriodElapsedCallback(TIM_HandleTypeDef *htim)
{
  if (htim->Instance == TIM7) {
    HAL_IncTick();
  }
}

void Error_Handler(void)
{
  __disable_irq();
  while (1)
  {
  }
}

/************************ (C) COPYRIGHT STMicroelectronics *****END OF FILE****/

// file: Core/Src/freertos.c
/* USER CODE BEGIN Header */
/**
  ******************************************************************************
  * File Name          : freertos.c
  * Description        : Code for freertos applications
  ******************************************************************************
  * @attention
  *
  * <h2><center>&copy; Copyright (c) 2021 STMicroelectronics.
  * All rights reserved.</center></h2>
  *
  * This software component is licensed by ST under Ultimate Liberty license
  * SLA0044, the "License"; You may not use this file except in compliance with
  * the License. You may obtain a copy of the License at:
  *                             www.st.com/SLA0044
  *
  ******************************************************************************
  */
/* USER CODE END Header */

#include "FreeRTOS.h"
#include "task.h"
#include "main.h"

/* USER CODE BEGIN Variables */
uint32_t cntr_idle           = 0;
uint32_t cntr_stack_overflow = 0;

/* USER CODE END Variables */

/* Hook prototypes */
void configureTimerForRunTimeStats(void);
unsigned long getRunTimeCounterValue(void);
void vApplicationIdleHook(void);
void vApplicationStackOverflowHook(xTaskHandle xTask, signed char *pcTaskName);

/* USER CODE BEGIN 1 */
/* Functions needed when configGENERATE_RUN_TIME_STATS is on */
__weak void configureTimerForRunTimeStats(void)
{

}

__weak unsigned long getRunTimeCounterValue(void)
{
return 0;
}
/* USER CODE END 1 */

/* USER CODE BEGIN 2 */
void vApplicationIdleHook( void )
{
   /* vApplicationIdleHook() will only be called if configUSE_IDLE_HOOK is set
   to 1 in FreeRTOSConfig.h. It will be called on each iteration of the idle
   task. It is essential that code added to this hook function never attempts
   to block in any way (for example, call xQueueReceive() with a block time
   specified, or call vTaskDelay()). If the application makes use of the
   vTaskDelete() API function (as this demo application does) then it is also
   important that vApplicationIdleHook() is permitted to return to its calling
   function, because it is the responsibility of the idle task to clean up
   memory allocated by the kernel to any task that has since been deleted. */
    cntr_idle ++;
}
/* USER CODE END 2 */

/* USER CODE BEGIN 4 */
void vApplicationStackOverflowHook(xTaskHandle xTask, signed char *pcTaskName)
{
   /* Run time stack overflow checking is performed if
   configCHECK_FOR_STACK_OVERFLOW is defined to 1 or 2. This hook function is
   called if a stack overflow is detected. */
    cntr_stack_overflow++;

}
/* USER CODE END 4 */

/************************ (C) COPYRIGHT STMicroelectronics *****END OF FILE****/
